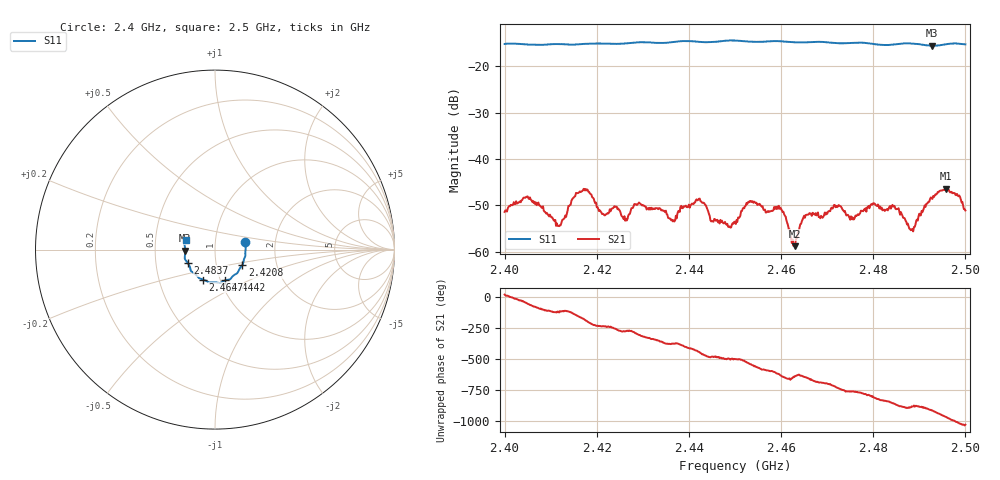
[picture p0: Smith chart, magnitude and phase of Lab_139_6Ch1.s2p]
# Hz S RI R 50
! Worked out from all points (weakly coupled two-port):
!   601 points, 2.4 GHz to 2.5 GHz, reference 50 ohm
!   highest |S21| = -46.43 dB at 2.4958 GHz (marker M1); lowest = -58.8 dB at 2.463 GHz (marker M2)
!   lowest |S11| = -15.6 dB at 2.4928 GHz (marker M3), VSWR 1.40, Z = 35.8 - j0.372 ohm
!   |S11| at or under -10 dB: start of sweep to end of sweep
!   S12 and S22 are empty: the file has one direction only
!   S11 on the Smith chart (normalised r, x): 2.4 GHz: 1.40, +0.12; 2.4208 GHz: 1.33, -0.24; 2.4442 GHz: 1.05, -0.37; 2.4647 GHz: 0.83, -0.29; 2.4837 GHz: 0.73, -0.11; 2.5 GHz: 0.72, +0.08
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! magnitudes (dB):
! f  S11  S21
! 2.4 GHz  -15.2  -51.4
! 2.405 GHz  -15.4  -48.0
! 2.4117 GHz  -15.3  -54.4
! 2.4167 GHz  -15.3  -47.0
! 2.4208 GHz  -15.1  -51.3
! 2.4262 GHz  -15.1  -53.3
! 2.4333 GHz  -15.0  -50.8
! 2.4365 GHz  -14.8  -53.4
! 2.442 GHz  -14.8  -48.8
! 2.4442 GHz  -14.9  -51.2
! 2.45 GHz  -14.5  -53.5
! 2.4533 GHz  -14.7  -49.2
! 2.4597 GHz  -14.6  -50.7
! 2.463 GHz  -14.9  -58.8
! 2.4647 GHz  -14.9  -53.0
! 2.4667 GHz  -14.8  -52.3
! 2.4833 GHz  -15.5  -50.7
! 2.4837 GHz  -15.4  -50.1
! 2.4883 GHz  -15.1  -55.2
! 2.4928 GHz  -15.6  -48.6
! 2.4958 GHz  -15.3  -46.4
! 2.5 GHz  -15.3  -51.1
